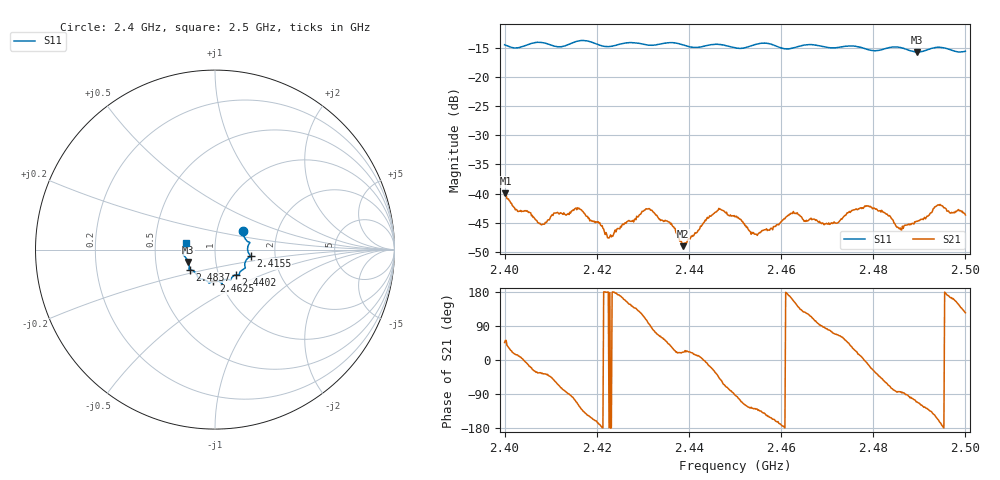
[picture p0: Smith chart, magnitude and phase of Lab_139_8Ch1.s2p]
# Hz S RI R 50
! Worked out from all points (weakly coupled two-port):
!   601 points, 2.4 GHz to 2.5 GHz, reference 50 ohm
!   highest |S21| = -39.92 dB at 2.4002 GHz (marker M1); lowest = -49.0 dB at 2.4387 GHz (marker M2)
!   lowest |S11| = -15.7 dB at 2.4895 GHz (marker M3), VSWR 1.39, Z = 36.8 - j5.17 ohm
!   |S11| at or under -10 dB: start of sweep to end of sweep
!   S12 and S22 are empty: the file has one direction only
!   S11 on the Smith chart (normalised r, x): 2.4 GHz: 1.33, +0.29; 2.4155 GHz: 1.49, -0.11; 2.4402 GHz: 1.20, -0.35; 2.4625 GHz: 0.92, -0.34; 2.4837 GHz: 0.74, -0.17; 2.5 GHz: 0.72, +0.05
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2.4e9  0.1566 0.1058  0.00673 0.007  0 0  0 0
2.400167e9  0.1565 0.1035  0.00626 0.00791  0 0  0 0
2.408e9  0.1941 0.0377  0.00438 -0.00315  0 0  0 0
2.4155e9  0.1981 -0.0355  -0.0026 -0.00706  0 0  0 0
2.416667e9  0.2015 -0.0399  -0.00465 -0.00558  0 0  0 0
2.422833e9  0.1672 -0.0729  -0.00428 0.000148  0 0  0 0
2.430833e9  0.1483 -0.1159  -0.00191 0.00716  0 0  0 0
2.433333e9  0.1357 -0.1335  0.00251 0.00566  0 0  0 0
2.438667e9  0.1261 -0.1403  0.00331 0.00126  0 0  0 0
2.440167e9  0.1144 -0.1407  0.00378 0.00148  0 0  0 0
2.446333e9  0.0847 -0.1706  0.00528 -0.0049  0 0  0 0
2.45e9  0.0641 -0.1659  -0.00027 -0.00631  0 0  0 0
2.454667e9  0.0372 -0.1875  -0.00282 -0.00348  0 0  0 0
2.4625e9  -0.00987 -0.1764  -0.0063 0.00242  0 0  0 0
2.466667e9  -0.0329 -0.1865  -0.00228 0.00552  0 0  0 0
2.478667e9  -0.1027 -0.1387  0.00774 -0.0011  0 0  0 0
2.483333e9  -0.1383 -0.1123  0.00251 -0.00592  0 0  0 0
2.483667e9  -0.1403 -0.1119  0.00218 -0.00602  0 0  0 0
2.485667e9  -0.1446 -0.1064  0.000568 -0.00496  0 0  0 0
2.4895e9  -0.1484 -0.0684  -0.00206 -0.0054  0 0  0 0
2.494167e9  -0.1782 -0.0251  -0.00745 -0.00294  0 0  0 0
2.5e9  -0.1627 0.0361  -0.00372 0.0054  0 0  0 0
